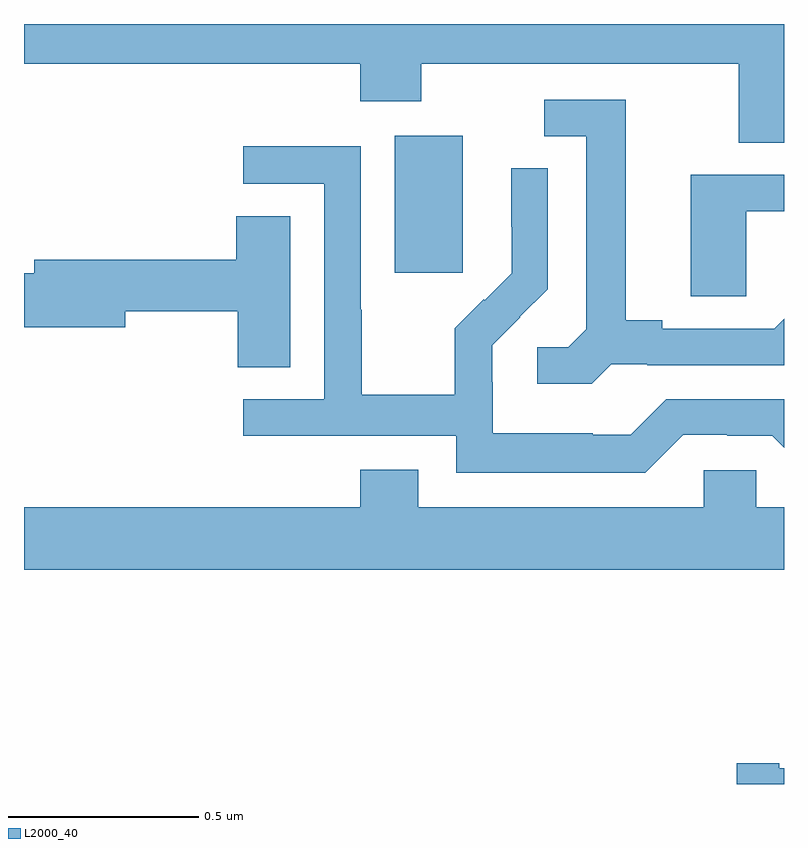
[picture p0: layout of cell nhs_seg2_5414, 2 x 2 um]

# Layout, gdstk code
import gdstk
lib = gdstk.Library(unit=1e-6, precision=1e-09)
def R(c, l, rs):  # rectangles x0, y0, x1, y1
    for r in rs: c.add(gdstk.rectangle(r[:2], r[2:], *l))
def P(c, l, *ps):  # polygons
    for p in ps: c.add(gdstk.Polygon(p, *l))
L2000_40 = (2000, 40)

nhs_seg2_5414 = lib.new_cell('nhs_seg2_5414')
R(nhs_seg2_5414, L2000_40, [(179.975,587.145,180.154,587.506)])
P(nhs_seg2_5414, L2000_40, [(181,587.8),(179,587.8),(179,587.696),(179.885,587.696),(179.885,587.597),(180.045,587.597),(180.045,587.696),(180.881,587.696),(180.881,587.488),(181,587.488)],
  [(180.546,586.905),(180.64,586.905),(180.64,586.902),(181,586.902),(181,587.024),(180.974,586.998),(180.679,586.998),(180.679,587.021),(180.583,587.021),(180.583,587.601),(180.369,587.601),(180.369,587.505),(180.479,587.505),(180.479,586.997),(180.432,586.95),(180.351,586.95),(180.351,586.853),(180.494,586.853)],
  [(180.735,586.719),(180.851,586.719),(180.851,586.716),(180.969,586.716),(181,586.685),(181,586.812),(180.69,586.812),(180.597,586.719),(180.497,586.719),(180.497,586.723),(180.234,586.723),(180.234,586.857),(180.232,586.857),(180.232,586.954),(180.306,587.028),(180.305,587.029),(180.378,587.102),(180.378,587.42),(180.282,587.42),(180.282,587.266),(180.284,587.266),(180.284,587.144),(180.213,587.073),(180.21,587.076),(180.133,586.999),(180.133,586.825),(179.889,586.825),(179.889,587.048),(179.886,587.048),(179.886,587.478),(179.577,587.478),(179.577,587.379),(179.79,587.379),(179.79,586.812),(179.577,586.812),(179.577,586.716),(180.138,586.716),(180.138,586.619),(180.635,586.619)],
  [(180.9,587.307),(181,587.307),(181,587.403),(180.755,587.403),(180.755,587.083),(180.9,587.083)],
  [(179.701,587.294),(179.558,587.294),(179.558,587.18),(179.027,587.18),(179.027,587.144),(179,587.144),(179,587.002),(179.266,587.002),(179.266,587.044),(179.563,587.044),(179.563,586.897),(179.701,586.897)],
  [(181,586.528),(180.927,586.528),(180.927,586.626),(180.789,586.626),(180.789,586.528),(180.037,586.528),(180.037,586.627),(179.885,586.627),(179.885,586.528),(179,586.528),(179,586.364),(181,586.364)],
  [(181,585.841),(180.988,585.841),(180.988,585.854),(180.876,585.854),(180.876,585.8),(181,585.8)])

lib.write_gds('nhs_seg2_5414.gds')
